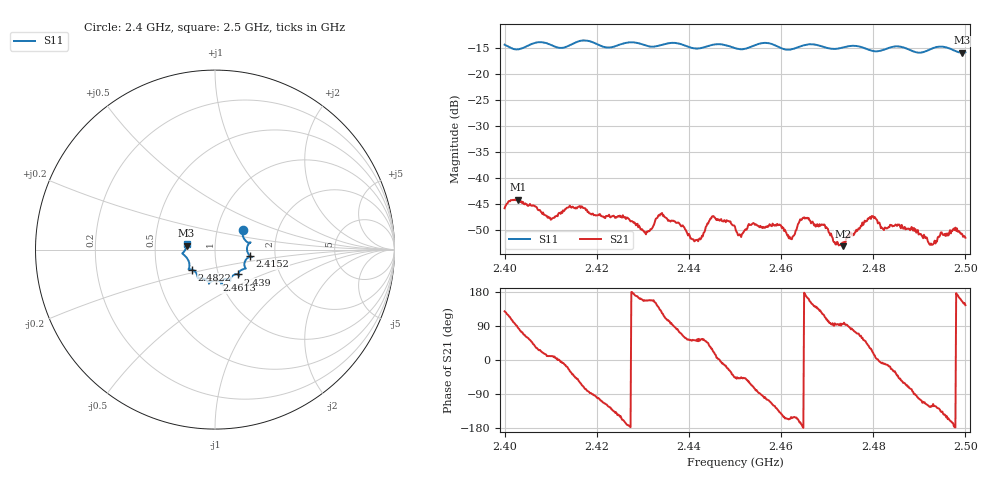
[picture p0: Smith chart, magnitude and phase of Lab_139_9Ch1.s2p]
# Hz S RI R 50
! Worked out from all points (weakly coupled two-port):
!   601 points, 2.4 GHz to 2.5 GHz, reference 50 ohm
!   highest |S21| = -44.20 dB at 2.4028 GHz (marker M1); lowest = -53.2 dB at 2.4735 GHz (marker M2)
!   lowest |S11| = -15.9 dB at 2.4993 GHz (marker M3), VSWR 1.38, Z = 36.3 + j1.6 ohm
!   |S11| at or under -10 dB: start of sweep to end of sweep
!   S12 and S22 are empty: the file has one direction only
!   S11 on the Smith chart (normalised r, x): 2.4 GHz: 1.33, +0.31; 2.4152 GHz: 1.48, -0.11; 2.439 GHz: 1.24, -0.35; 2.4613 GHz: 0.96, -0.34; 2.4822 GHz: 0.76, -0.17; 2.5 GHz: 0.73, +0.05
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2.4e9  0.1554 0.1115  -0.00316 0.00398  0 0  0 0
2.402833e9  0.1597 0.0644  0.000402 0.00615  0 0  0 0
2.409833e9  0.1891 0.0343  0.00406 0.000735  0 0  0 0
2.415167e9  0.1952 -0.0363  0.00373 -0.00352  0 0  0 0
2.416667e9  0.2049 -0.0422  0.00229 -0.00478  0 0  0 0
2.4305e9  0.1524 -0.1109  -0.00275 0.00116  0 0  0 0
2.433333e9  0.1317 -0.1322  -0.00333 0.00273  0 0  0 0
2.439e9  0.1281 -0.1383  0.00162 0.00291  0 0  0 0
2.4415e9  0.1039 -0.1416  0.00157 0.00197  0 0  0 0
2.445167e9  0.0842 -0.1713  0.00388 0.00175  0 0  0 0
2.45e9  0.0689 -0.1633  0.00233 -0.00243  0 0  0 0
2.459333e9  0.0315 -0.1802  -0.00233 -0.0026  0 0  0 0
2.461333e9  0.00758 -0.1709  -0.00253 -0.00116  0 0  0 0
2.464667e9  -0.0311 -0.1846  -0.00407 -0.000294  0 0  0 0
2.466667e9  -0.0335 -0.1902  -0.00315 0.00195  0 0  0 0
2.4735e9  -0.0822 -0.1603  -0.000212 0.00218  0 0  0 0
2.4795e9  -0.1034 -0.1324  0.00347 0.00201  0 0  0 0
2.482167e9  -0.1282 -0.1118  0.00315 -0.000553  0 0  0 0
2.483333e9  -0.1395 -0.1102  0.00322 -0.000957  0 0  0 0
2.492667e9  -0.1723 -0.0301  -0.00123 -0.0019  0 0  0 0
2.499333e9  -0.1586 0.0215  -0.00257 0.00123  0 0  0 0
2.5e9  -0.1582 0.0336  -0.00216 0.00152  0 0  0 0
